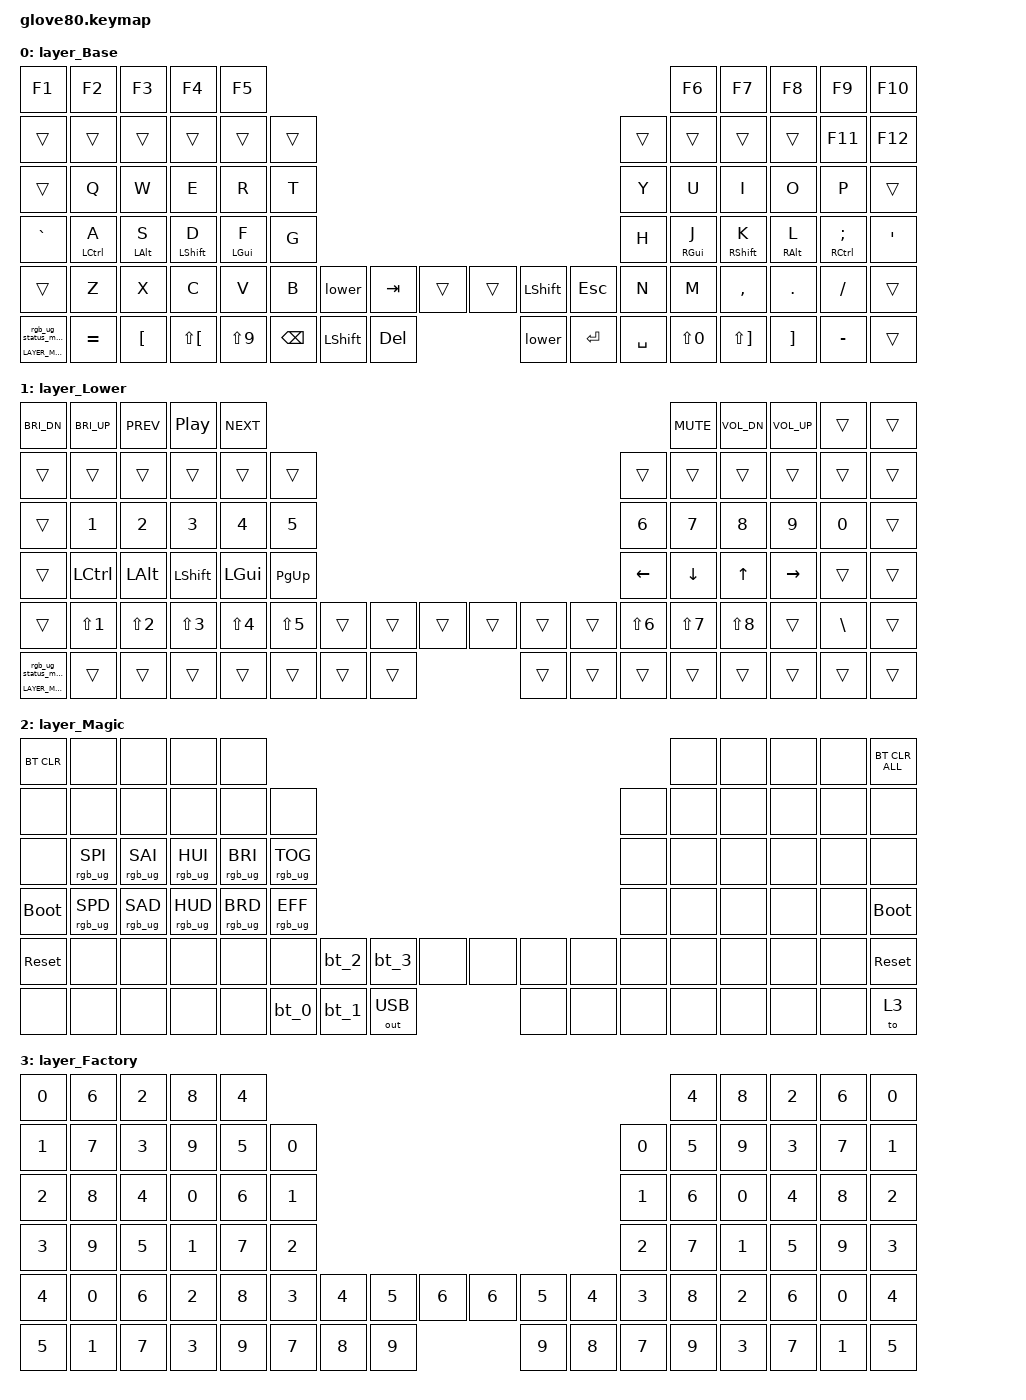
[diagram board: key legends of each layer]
/*
 * Copyright (c) 2020 The ZMK Contributors
 * Copyright (c) 2025 Innaworks Development Limited, trading as MoErgo
 *
 * SPDX-License-Identifier: MIT
 */


/* THIS FILE WAS GENERATED BY GLOVE80 LAYOUT EDITOR
 *
 * This file was generated automatically. You may or may not want to
 * edit it directly.
 */

#include <behaviors.dtsi>
/* Include all behavior includes needed */
#include <dt-bindings/zmk/outputs.h>
#include <dt-bindings/zmk/keys.h>
#include <dt-bindings/zmk/bt.h>
#include <dt-bindings/zmk/rgb.h>

/* On demand includes */


/* Automatically generated layer name #define */
#define LAYER_Base 0
#define LAYER_Lower 1
#define LAYER_Magic 2
#define LAYER_Factory 3

/* To deal with the situation where there is no Lower layer, to keep &lower happy */
#ifndef LAYER_Lower
#define LAYER_Lower 0
#endif

/* Custom Device-tree */


/* Input Listeners */


/* System behavior and Macros */
/ {
    behaviors {
        // For the "layer" key, it'd nice to be able to use it as either a shift or a toggle.
        // Configure it as a tap dance, so the first tap (or hold) is a &mo and the second tap is a &to
        lower: lower {
            compatible = "zmk,behavior-tap-dance";
            label = "LAYER_TAP_DANCE";
            #binding-cells = <0>;
            tapping-term-ms = <200>;
            bindings = <&mo LAYER_Lower>, <&to LAYER_Lower>;
        };
    };
};

/ {
    macros {
        rgb_ug_status_macro: rgb_ug_status_macro {
            label = "RGB_UG_STATUS";
            compatible = "zmk,behavior-macro";
            #binding-cells = <0>;
            bindings
                = <&rgb_ug RGB_STATUS>;
        };
    };
};


/ {
#ifdef BT_DISC_CMD
    behaviors {
        bt_0: bt_0 {
            compatible = "zmk,behavior-tap-dance";
            label = "BT_0";
            #binding-cells = <0>;
            tapping-term-ms = <200>;
            bindings = <&bt_select_0>, <&bt BT_DISC 0>;
        };
        bt_1: bt_1 {
            compatible = "zmk,behavior-tap-dance";
            label = "BT_1";
            #binding-cells = <0>;
            tapping-term-ms = <200>;
            bindings = <&bt_select_1>, <&bt BT_DISC 1>;
        };
        bt_2: bt_2 {
            compatible = "zmk,behavior-tap-dance";
            label = "BT_2";
            #binding-cells = <0>;
            tapping-term-ms = <200>;
            bindings = <&bt_select_2>, <&bt BT_DISC 2>;
        };
        bt_3: bt_3 {
            compatible = "zmk,behavior-tap-dance";
            label = "BT_3";
            #binding-cells = <0>;
            tapping-term-ms = <200>;
            bindings = <&bt_select_3>, <&bt BT_DISC 3>;
        };
    };
    macros {
        bt_select_0: bt_select_0 {
            label = "BT_SELECT_0";
            compatible = "zmk,behavior-macro";
            #binding-cells = <0>;
            bindings
                = <&out OUT_BLE>,
                  <&bt BT_SEL 0>;
        };
        bt_select_1: bt_select_1 {
            label = "BT_SELECT_1";
            compatible = "zmk,behavior-macro";
            #binding-cells = <0>;
            bindings
                = <&out OUT_BLE>,
                  <&bt BT_SEL 1>;
        };
        bt_select_2: bt_select_2 {
            label = "BT_SELECT_2";
            compatible = "zmk,behavior-macro";
            #binding-cells = <0>;
            bindings
                = <&out OUT_BLE>,
                  <&bt BT_SEL 2>;
        };
        bt_select_3: bt_select_3 {
            label = "BT_SELECT_3";
            compatible = "zmk,behavior-macro";
            #binding-cells = <0>;
            bindings
                = <&out OUT_BLE>,
                  <&bt BT_SEL 3>;
        };
    };
#else
    macros {
        bt_0: bt_0 {
            label = "BT_0";
            compatible = "zmk,behavior-macro";
            #binding-cells = <0>;
            bindings
                = <&out OUT_BLE>,
                  <&bt BT_SEL 0>;
        };
        bt_1: bt_1 {
            label = "BT_1";
            compatible = "zmk,behavior-macro";
            #binding-cells = <0>;
            bindings
                = <&out OUT_BLE>,
                  <&bt BT_SEL 1>;
        };
        bt_2: bt_2 {
            label = "BT_2";
            compatible = "zmk,behavior-macro";
            #binding-cells = <0>;
            bindings
                = <&out OUT_BLE>,
                  <&bt BT_SEL 2>;
        };
        bt_3: bt_3 {
            label = "BT_3";
            compatible = "zmk,behavior-macro";
            #binding-cells = <0>;
            bindings
                = <&out OUT_BLE>,
                  <&bt BT_SEL 3>;
        };
    };
#endif
};

/ {
    behaviors {
        magic: magic {
            compatible = "zmk,behavior-hold-tap";
            label = "MAGIC_HOLD_TAP";
            #binding-cells = <2>;
            flavor = "tap-preferred";
            tapping-term-ms = <200>;
            bindings = <&mo>, <&rgb_ug_status_macro>;
        };
    };
};

/* #define for key positions */
#define POS_LH_T1 52
#define POS_LH_T2 53
#define POS_LH_T3 54
#define POS_LH_T4 69
#define POS_LH_T5 70
#define POS_LH_T6 71
#define POS_LH_C1R2 15
#define POS_LH_C1R3 27
#define POS_LH_C1R4 39
#define POS_LH_C1R5 51
#define POS_LH_C2R1 4
#define POS_LH_C2R2 14
#define POS_LH_C2R3 26
#define POS_LH_C2R4 38
#define POS_LH_C2R5 50
#define POS_LH_C2R6 68
#define POS_LH_C3R1 3
#define POS_LH_C3R2 13
#define POS_LH_C3R3 25
#define POS_LH_C3R4 37
#define POS_LH_C3R5 49
#define POS_LH_C3R6 67
#define POS_LH_C4R1 2
#define POS_LH_C4R2 12
#define POS_LH_C4R3 24
#define POS_LH_C4R4 36
#define POS_LH_C4R5 48
#define POS_LH_C4R6 66
#define POS_LH_C5R1 1
#define POS_LH_C5R2 11
#define POS_LH_C5R3 23
#define POS_LH_C5R4 35
#define POS_LH_C5R5 47
#define POS_LH_C5R6 65
#define POS_LH_C6R1 0
#define POS_LH_C6R2 10
#define POS_LH_C6R3 22
#define POS_LH_C6R4 34
#define POS_LH_C6R5 46
#define POS_LH_C6R6 64
#define POS_RH_T1 57
#define POS_RH_T2 56
#define POS_RH_T3 55
#define POS_RH_T4 74
#define POS_RH_T5 73
#define POS_RH_T6 72
#define POS_RH_C1R2 16
#define POS_RH_C1R3 28
#define POS_RH_C1R4 40
#define POS_RH_C1R5 58
#define POS_RH_C2R1 5
#define POS_RH_C2R2 17
#define POS_RH_C2R3 29
#define POS_RH_C2R4 41
#define POS_RH_C2R5 59
#define POS_RH_C2R6 75
#define POS_RH_C3R1 6
#define POS_RH_C3R2 18
#define POS_RH_C3R3 30
#define POS_RH_C3R4 42
#define POS_RH_C3R5 60
#define POS_RH_C3R6 76
#define POS_RH_C4R1 7
#define POS_RH_C4R2 19
#define POS_RH_C4R3 31
#define POS_RH_C4R4 43
#define POS_RH_C4R5 61
#define POS_RH_C4R6 77
#define POS_RH_C5R1 8
#define POS_RH_C5R2 20
#define POS_RH_C5R3 32
#define POS_RH_C5R4 44
#define POS_RH_C5R5 62
#define POS_RH_C5R6 78
#define POS_RH_C6R1 9
#define POS_RH_C6R2 21
#define POS_RH_C6R3 33
#define POS_RH_C6R4 45
#define POS_RH_C6R5 63
#define POS_RH_C6R6 79

/* Custom Defined Behaviors */
/ {
behaviors {
    my_home_mod: my_home_mod {
        compatible = "zmk,behavior-hold-tap";
        flavor = "tap-preferred";
        hold-trigger-on-release;
        tapping-term-ms = <250>;
        require-prior-idle-ms = <250>;
        #binding-cells = <2>;
        bindings = <&kp>, <&kp>;
        retro-tap;
    };
};
};

/* Automatically generated macro definitions */
/ {
    macros {

    };
};

/* Automatically generated behavior definitions */
/ {
    behaviors {

    };
};

/* Automatically generated combos definitions */


/* Automatically generated keymap */
/ {
    keymap {
        compatible = "zmk,keymap";


        layer_Base {
            bindings = <
               &kp F1                &kp F2               &kp F3                &kp F4               &kp F5                                                                                           &kp F6                &kp F7               &kp F8                   &kp F9  &kp F10
               &trans                &trans               &trans                &trans               &trans  &trans                                                              &trans               &trans                &trans               &trans                  &kp F11  &kp F12
               &trans                 &kp Q                &kp W                 &kp E                &kp R   &kp T                                                               &kp Y                &kp U                 &kp I                &kp O                    &kp P   &trans
            &kp GRAVE  &my_home_mod LCTRL A  &my_home_mod LALT S  &my_home_mod LSHFT D  &my_home_mod LGUI F   &kp G                                                               &kp H  &my_home_mod RGUI J  &my_home_mod RSHFT K  &my_home_mod RALT L  &my_home_mod RCTRL SEMI  &kp SQT
               &trans                 &kp Z                &kp X                 &kp C                &kp V   &kp B    &lower    &kp TAB   &trans  &trans  &kp LSHFT    &kp ESC   &kp N                &kp M             &kp COMMA              &kp DOT                 &kp FSLH   &trans
 &magic LAYER_Magic 0             &kp EQUAL             &kp LBKT          &kp LS(LBKT)           &kp LS(N9)          &kp BSPC  &kp LSHFT  &kp DEL  &lower    &kp RET  &kp SPACE                   &kp LS(N0)          &kp LS(RBKT)             &kp RBKT                &kp MINUS   &trans
            >;
        };

        layer_Lower {
            bindings = <
         &kp C_BRI_DN  &kp C_BRI_UP  &kp C_PREV    &kp C_PP  &kp C_NEXT                                                                          &kp C_MUTE  &kp C_VOL_DN  &kp C_VOL_UP    &trans  &trans
               &trans        &trans      &trans      &trans      &trans      &trans                                                      &trans      &trans        &trans        &trans    &trans  &trans
               &trans        &kp N1      &kp N2      &kp N3      &kp N4      &kp N5                                                      &kp N6      &kp N7        &kp N8        &kp N9    &kp N0  &trans
               &trans     &kp LCTRL    &kp LALT   &kp LSHFT    &kp LGUI   &kp PG_UP                                                    &kp LEFT    &kp DOWN        &kp UP     &kp RIGHT    &trans  &trans
               &trans    &kp LS(N1)  &kp LS(N2)  &kp LS(N3)  &kp LS(N4)  &kp LS(N5)  &trans  &trans  &trans  &trans  &trans  &trans  &kp LS(N6)  &kp LS(N7)    &kp LS(N8)        &trans  &kp BSLH  &trans
 &magic LAYER_Magic 0        &trans      &trans      &trans      &trans              &trans  &trans  &trans  &trans  &trans  &trans                  &trans        &trans        &trans    &trans  &trans
            >;
        };

        layer_Magic {
            bindings = <
  &bt BT_CLR            &none            &none            &none            &none                                                                                  &none   &none   &none   &none  &bt BT_CLR_ALL
       &none            &none            &none            &none            &none            &none                                                         &none   &none   &none   &none   &none           &none
       &none  &rgb_ug RGB_SPI  &rgb_ug RGB_SAI  &rgb_ug RGB_HUI  &rgb_ug RGB_BRI  &rgb_ug RGB_TOG                                                         &none   &none   &none   &none   &none           &none
 &bootloader  &rgb_ug RGB_SPD  &rgb_ug RGB_SAD  &rgb_ug RGB_HUD  &rgb_ug RGB_BRD  &rgb_ug RGB_EFF                                                         &none   &none   &none   &none   &none     &bootloader
  &sys_reset            &none            &none            &none            &none            &none   &bt_2   &bt_3         &none   &none   &none   &none   &none   &none   &none   &none   &none      &sys_reset
       &none            &none            &none            &none            &none                    &bt_0   &bt_1  &out OUT_USB   &none   &none   &none           &none   &none   &none   &none           &to 3
            >;
        };

        layer_Factory {
            bindings = <
 &kp NUMBER_0  &kp NUMBER_6  &kp NUMBER_2  &kp NUMBER_8  &kp NUMBER_4                                                                                                                  &kp NUMBER_4  &kp NUMBER_8  &kp NUMBER_2  &kp NUMBER_6  &kp NUMBER_0
 &kp NUMBER_1  &kp NUMBER_7  &kp NUMBER_3  &kp NUMBER_9  &kp NUMBER_5  &kp NUMBER_0                                                                                      &kp NUMBER_0  &kp NUMBER_5  &kp NUMBER_9  &kp NUMBER_3  &kp NUMBER_7  &kp NUMBER_1
 &kp NUMBER_2  &kp NUMBER_8  &kp NUMBER_4  &kp NUMBER_0  &kp NUMBER_6  &kp NUMBER_1                                                                                      &kp NUMBER_1  &kp NUMBER_6  &kp NUMBER_0  &kp NUMBER_4  &kp NUMBER_8  &kp NUMBER_2
 &kp NUMBER_3  &kp NUMBER_9  &kp NUMBER_5  &kp NUMBER_1  &kp NUMBER_7  &kp NUMBER_2                                                                                      &kp NUMBER_2  &kp NUMBER_7  &kp NUMBER_1  &kp NUMBER_5  &kp NUMBER_9  &kp NUMBER_3
 &kp NUMBER_4  &kp NUMBER_0  &kp NUMBER_6  &kp NUMBER_2  &kp NUMBER_8  &kp NUMBER_3  &kp NUMBER_4  &kp NUMBER_5  &kp NUMBER_6  &kp NUMBER_6  &kp NUMBER_5  &kp NUMBER_4  &kp NUMBER_3  &kp NUMBER_8  &kp NUMBER_2  &kp NUMBER_6  &kp NUMBER_0  &kp NUMBER_4
 &kp NUMBER_5  &kp NUMBER_1  &kp NUMBER_7  &kp NUMBER_3  &kp NUMBER_9                &kp NUMBER_7  &kp NUMBER_8  &kp NUMBER_9  &kp NUMBER_9  &kp NUMBER_8  &kp NUMBER_7                &kp NUMBER_9  &kp NUMBER_3  &kp NUMBER_7  &kp NUMBER_1  &kp NUMBER_5
            >;
        };

    };
};
